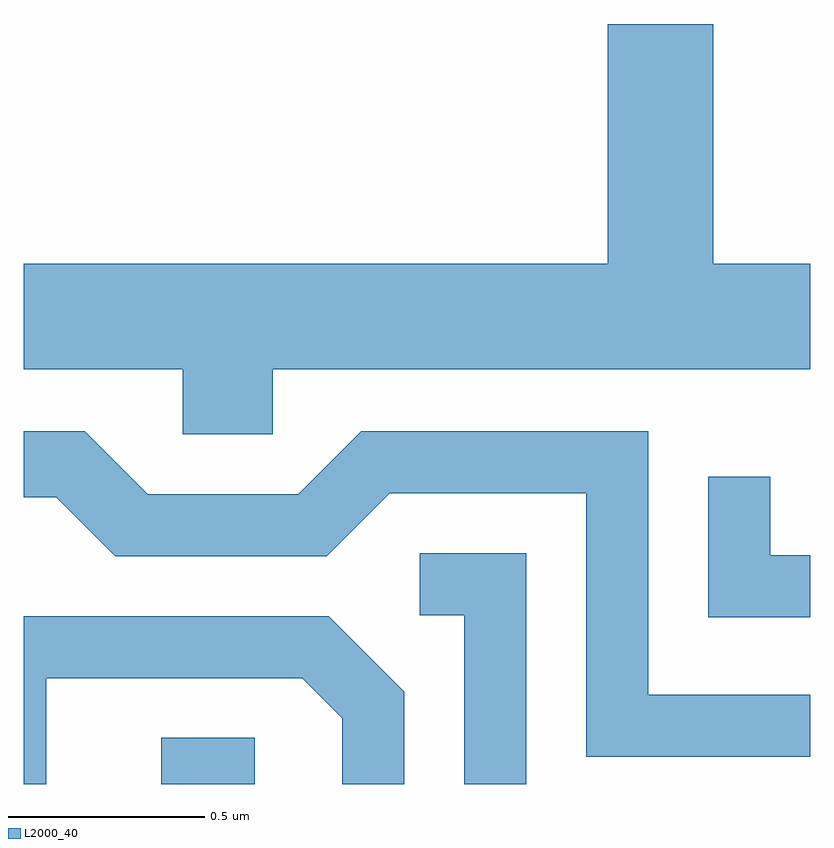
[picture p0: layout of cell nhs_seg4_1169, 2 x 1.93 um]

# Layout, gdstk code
import gdstk
lib = gdstk.Library(unit=1e-6, precision=1e-09)
def R(c, l, rs):  # rectangles x0, y0, x1, y1
    for r in rs: c.add(gdstk.rectangle(r[:2], r[2:], *l))
def P(c, l, *ps):  # polygons
    for p in ps: c.add(gdstk.Polygon(p, *l))
L2000_40 = (2000, 40)

nhs_seg4_1169 = lib.new_cell('nhs_seg4_1169')
R(nhs_seg4_1169, L2000_40, [(193.961,1326.982,194.199,1327.099)])
P(nhs_seg4_1169, L2000_40, [(194.244,1328.036),(195.611,1328.036),(195.611,1328.304),(195.364,1328.304),(195.364,1328.914),(195.096,1328.914),(195.096,1328.304),(193.611,1328.304),(193.611,1328.036),(194.016,1328.036),(194.016,1327.871),(194.244,1327.871)],
  [(195.611,1327.209),(195.199,1327.209),(195.199,1327.879),(194.469,1327.879),(194.309,1327.719),(193.927,1327.719),(193.767,1327.879),(193.611,1327.879),(193.611,1327.711),(193.694,1327.711),(193.844,1327.561),(194.382,1327.561),(194.542,1327.721),(195.041,1327.721),(195.041,1327.051),(195.611,1327.051)],
  [(195.611,1327.564),(195.509,1327.564),(195.509,1327.763),(195.351,1327.763),(195.351,1327.406),(195.611,1327.406)],
  [(194.889,1327.569),(194.618,1327.569),(194.618,1327.411),(194.731,1327.411),(194.731,1326.982),(194.889,1326.982)],
  [(193.669,1327.251),(194.319,1327.251),(194.421,1327.149),(194.421,1326.982),(194.579,1326.982),(194.579,1327.217),(194.387,1327.409),(193.611,1327.409),(193.611,1326.982),(193.669,1326.982)])

lib.write_gds('nhs_seg4_1169.gds')
